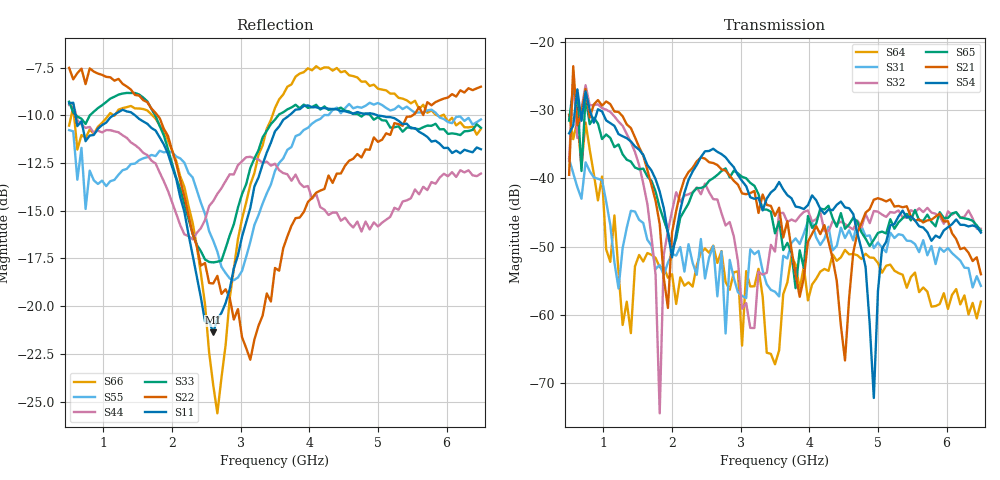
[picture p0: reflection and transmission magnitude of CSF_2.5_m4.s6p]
!Keysight Technologies,M9804A,MY58100912,A.14.10.03
!Date: Thursday, April 27, 2023 10:28:33
!Correction: S11(C  6-Port  )
!S12(C  6-Port  )
!S13(C  6-Port  )
!S14(C  6-Port  )
!S15(C  6-Port  )
!S16(C  6-Port  )
!S21(C  6-Port  )
!S22(C  6-Port  )
!S23(C  6-Port  )
!S24(C  6-Port  )
!S25(C  6-Port  )
!S26(C  6-Port  )
!S31(C  6-Port  )
!S32(C  6-Port  )
!S33(C  6-Port  )
!S34(C  6-Port  )
!S35(C  6-Port  )
!S36(C  6-Port  )
!S41(C  6-Port  )
!S42(C  6-Port  )
!S43(C  6-Port  )
!S44(C  6-Port  )
!S45(C  6-Port  )
!S46(C  6-Port  )
!S51(C  6-Port  )
!S52(C  6-Port  )
!S53(C  6-Port  )
!S54(C  6-Port  )
!S55(C  6-Port  )
!S56(C  6-Port  )
!S61(C  6-Port  )
!S62(C  6-Port  )
!S63(C  6-Port  )
!S64(C  6-Port  )
!S65(C  6-Port  )
!S66(C  6-Port  )
!S6P File: Measurement: :
# Hz S  RI  R 50
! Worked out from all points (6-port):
!   101 points, 500 MHz to 6.5 GHz, reference 50 ohm
!   strongest paths, dB at 500 MHz, 2 GHz, 3.5 GHz, 5 GHz, 6.5 GHz:
!     S54: -33.4, -51.5, -41.5, -56.5, -47.9
!     S21: -39.5, -47.9, -45.5, -42.9, -54.0
!     S65: -31.5, -50.5, -48.0, -48.0, -47.6
!     S32: -37.4, -44.8, -50.7, -44.9, -47.4
!     S31: -37.1, -51.0, -56.6, -49.4, -55.7
!     S64: -30.7, -54.0, -67.2, -52.4, -58.0
!   lowest |S11| = -21.4 dB at 2.6 GHz (marker M1), VSWR 1.19, Z = 42.4 + j2.29 ohm
!   |S11| at or under -10 dB: 592.2 MHz to 1.146 GHz (553.8 MHz wide, 63.7 % of centre); 1.46 GHz to 3.709 GHz (2.249 GHz wide, 87 % of centre); 4.988 GHz to end of sweep
